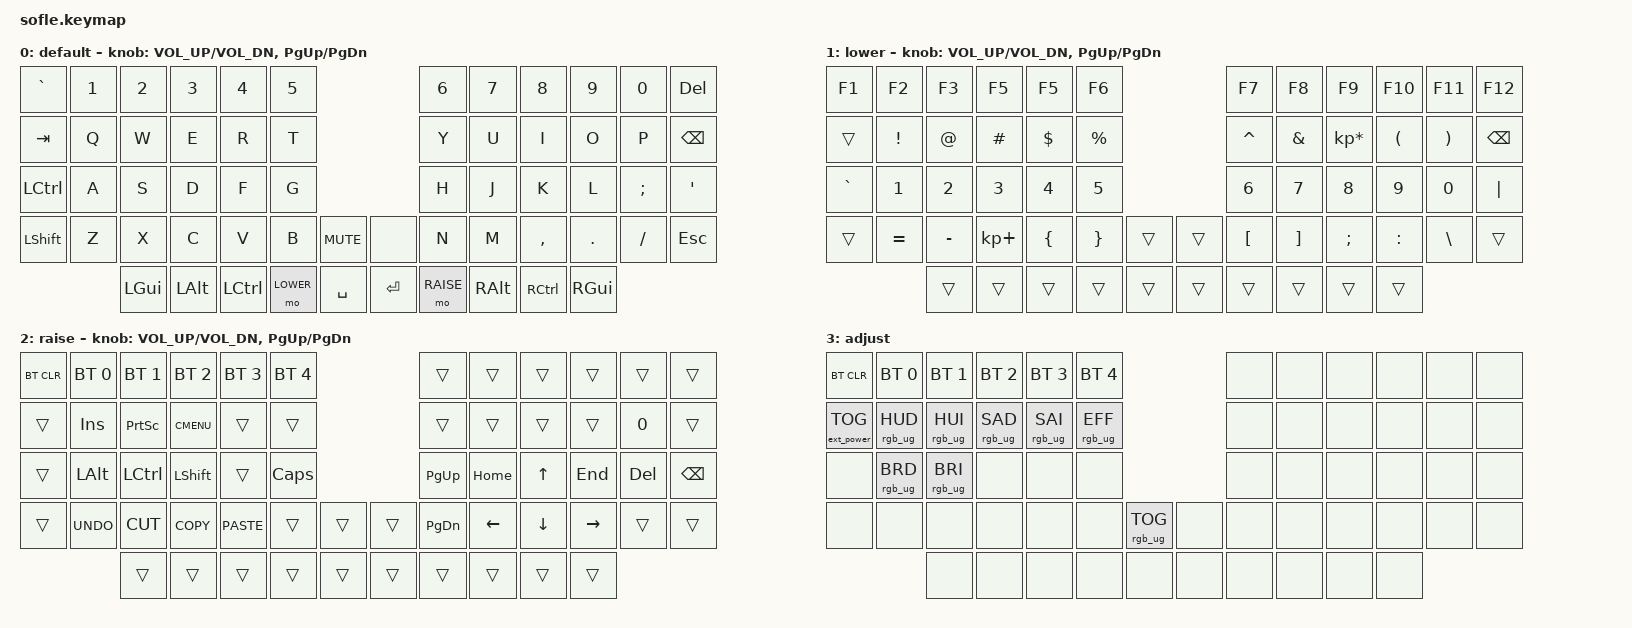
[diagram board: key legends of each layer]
/*
 * Copyright (c) 2020 The ZMK Contributors
 *
 * SPDX-License-Identifier: MIT
 */

#include <behaviors.dtsi>
#include <dt-bindings/zmk/keys.h>
#include <dt-bindings/zmk/bt.h>
#include <dt-bindings/zmk/rgb.h>
#include <dt-bindings/zmk/ext_power.h>

#define BASE 0
#define LOWER 1
#define RAISE 2
#define ADJUST 3

/ {

   // Activate ADJUST layer by pressing raise and lower
    conditional_layers {
        compatible = "zmk,conditional-layers";
        adjust_layer {
            if-layers = <LOWER RAISE>;
            then-layer = <ADJUST>;
        };
    };

    keymap {
        compatible = "zmk,keymap";

        default_layer {
            display-name = "default";
// ------------------------------------------------------------------------------------------------------------
// |   `   |  1  |  2  |  3   |  4   |  5   |                   |  6   |  7    |  8    |  9   |   0   | DEL   |
// |  TAB  |  Q  |  W  |  E   |  R   |  T   |                   |  Y   |  U    |  I    |  O   |   P   | BKSPC |
// | CTRL  |  A  |  S  |  D   |  F   |  G   |                   |  H   |  J    |  K    |  L   |   ;   |   '   |
// | SHIFT |  Z  |  X  |  C   |  V   |  B   |  MUTE  |  |       |  N   |  M    |  ,    |  .   |   /   | ESC   |
//               | GUI | CTRL | ALT  | LOWER|  SPACE |  | ENTER | RAISE| ALT   | CTRL   | GUI  |
            bindings = <
&kp GRAVE &kp N1 &kp N2   &kp N3   &kp N4    &kp N5                           &kp N6 &kp N7    &kp N8    &kp N9   &kp N0   &kp DEL
&kp TAB   &kp Q  &kp W    &kp E    &kp R     &kp T                            &kp Y  &kp U     &kp I     &kp O    &kp P    &kp BSPC
&kp LCTRL &kp A  &kp S    &kp D    &kp F     &kp G                            &kp H  &kp J     &kp K     &kp L    &kp SEMI &kp SQT
&kp LSHFT &kp Z  &kp X    &kp C    &kp V     &kp B      &kp C_MUTE &none      &kp N  &kp M     &kp COMMA &kp DOT  &kp FSLH &kp ESC
                 &kp LGUI &kp LALT &kp LCTRL &mo LOWER  &kp SPACE    &kp RET  &mo RAISE &kp RALT &kp RCTRL  &kp RGUI
            >;

            sensor-bindings = <&inc_dec_kp C_VOL_UP C_VOL_DN &inc_dec_kp PG_UP PG_DN>;
        };

        lower_layer {
            display-name = "lower";
// TODO: Some binds are waiting for shifted keycode support.
// ------------------------------------------------------------------------------------------------------------
// |       |  F1 |  F2 |  F3  |  F4  |  F5  |                   |  F6  |  F7   |  F8   |  F9  |  F10  |  F11  |
// |   `   |  1  |  2  |  3   |  4   |  5   |                   |  6   |  7    |  8    |  9   |   0   |  F12  |
// |       |  !  |  @  |  #   |  $   |  %   |                   |  ^   |  &    |  *    |  (   |   )   |   |   |
// |       |  =  |  -  |  +   |  {   |  }   |        |  |       |  [   |  ]    |  ;    |  :   |   \   |       |
//               |     |      |      |      |        |  |       |      |       |       |      |
            bindings = <
&kp F1    &kp F2    &kp F3    &kp F5      &kp F5    &kp F6                    &kp F7    &kp F8   &kp F9          &kp F10    &kp F11   &kp F12
&trans    &kp EXCL  &kp AT    &kp HASH    &kp DLLR  &kp PRCNT                 &kp CARET &kp AMPS &kp KP_MULTIPLY &kp LPAR  &kp RPAR  &kp BSPC
&kp GRAVE &kp N1    &kp N2    &kp N3      &kp N4    &kp N5                    &kp N6    &kp N7   &kp N8          &kp N9    &kp N0    &kp PIPE
&trans    &kp EQUAL &kp MINUS &kp KP_PLUS &kp LBRC  &kp RBRC   &trans &trans  &kp LBKT  &kp RBKT &kp SEMI        &kp COLON &kp BSLH  &trans
                    &trans    &trans      &trans    &trans     &trans &trans  &trans    &trans   &trans          &trans
            >;

            sensor-bindings = <&inc_dec_kp C_VOL_UP C_VOL_DN &inc_dec_kp PG_UP PG_DN>;
        };

        raise_layer {
            display-name = "raise";
// ------------------------------------------------------------------------------------------------------------
// | BTCLR | BT1  | BT2  |  BT3  |  BT4  |  BT5 |                |      |      |       |      |       |       |
// |       | INS  | PSCR | GUI   |       |      |                | PGUP | HOME |   ^   | END  |       |       |
// |       | ALT  | CTRL | SHIFT |       | CAPS |                | PGDN |   <- |   v   |  ->  |  DEL  | BKSPC |
// |       | UNDO | CUT  | COPY  | PASTE |      |      |  |      |      |      |       |      |       |       |
//                |      |       |       |      |      |  |      |      |      |       |      |
            bindings = <
&bt BT_CLR &bt BT_SEL 0 &bt BT_SEL 1 &bt BT_SEL 2 &bt BT_SEL 3 &bt BT_SEL 4                  &trans    &trans    &trans   &trans    &trans  &trans
&trans     &kp INS      &kp PSCRN    &kp K_CMENU  &trans       &trans                        &trans    &trans    &trans   &trans    &kp N0  &trans
&trans     &kp LALT     &kp LCTRL    &kp LSHFT    &trans       &kp CLCK                      &kp PG_UP &kp HOME  &kp UP   &kp END   &kp DEL &kp BSPC
&trans     &kp K_UNDO   &kp K_CUT    &kp K_COPY   &kp K_PASTE  &trans        &trans  &trans  &kp PG_DN &kp LEFT  &kp DOWN &kp RIGHT  &trans  &trans
                        &trans       &trans       &trans       &trans        &trans  &trans  &trans    &trans    &trans   &trans
            >;

            sensor-bindings = <&inc_dec_kp C_VOL_UP C_VOL_DN &inc_dec_kp PG_UP PG_DN>;
        };

        adjust_layer {
// ----------------------------------------------------------------------------------------------------------------------------
// | BTCLR  |  BT1    |  BT2    |   BT3   |   BT4   |   BT5   |                  |      |      |       |      |       |       |
// | EXTPWR | RGB_HUD | RGB_HUI | RGB_SAD | RGB_SAI | RGB_EFF |                  |      |      |       |      |       |       |
// |        | RGB_BRD | RGB_BRI |         |         |         |                  |      |      |       |      |       |       |
// |        |         |         |         |         |         | RGB_TOG | |      |      |      |       |      |       |       |
//                    |         |         |         |         |         | |      |      |      |       |      |
            display-name = "adjust";
            bindings = <
&bt BT_CLR        &bt BT_SEL 0    &bt BT_SEL 1    &bt BT_SEL 2    &bt BT_SEL 3    &bt BT_SEL 4                            &none &none &none &none &none &none
&ext_power EP_TOG &rgb_ug RGB_HUD &rgb_ug RGB_HUI &rgb_ug RGB_SAD &rgb_ug RGB_SAI &rgb_ug RGB_EFF                         &none &none &none &none &none &none
&none             &rgb_ug RGB_BRD &rgb_ug RGB_BRI &none           &none           &none                                   &none &none &none &none &none &none
&none             &none           &none           &none           &none           &none            &rgb_ug RGB_TOG &none  &none &none &none &none &none &none
                                  &none           &none           &none           &none            &none           &none  &none &none &none &none
            >;
        };

    };
};
